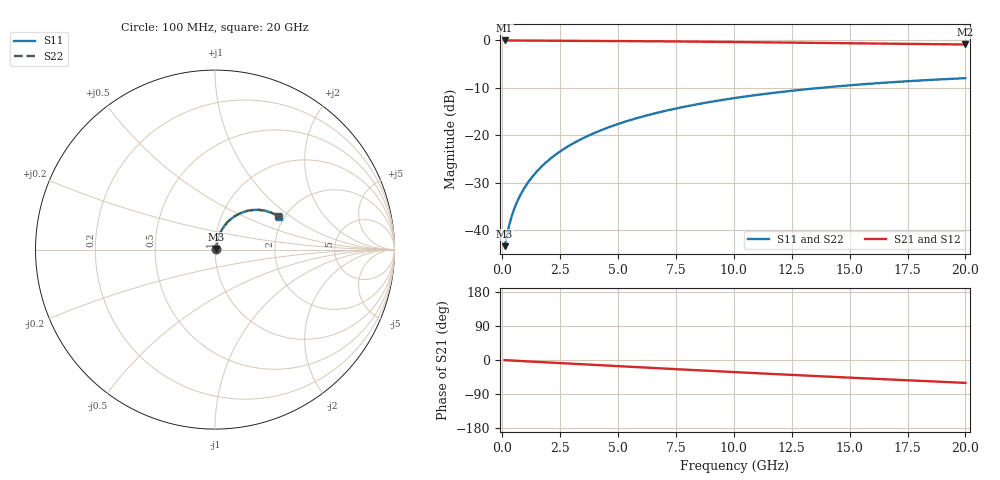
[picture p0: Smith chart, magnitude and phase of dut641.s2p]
! Touchstone file exported from HFSS 2026.1.0
!  File:  C:/ffzhzh/LocalFiles/Ansys_Project_Files/temp_train_BSMRDL_641_1783016756_55676.aedt
!  Generated:  02:27:32 AM Jul  3, 2026
!  Design:  BSMRDL
!  Project:  temp_train_BSMRDL_641_1783016756_55676
! Variables:
!  h_bsmrdl = 2.41um
!  h_ox = 20um
!  h_rdl = 5um
!  h_sub = 80um
!  h_tmrdl = 5um
!  h_tsv = 80um
!  h_via = 3um
!  l_bsmrdl = 985.95um
!  l_sub = 1385.95um
!  l_tmrdl = 200um
!  m_sub = 200um
!  pitch = 42.78um
!  r_tsv = 6um
!  s_tmrdl = 10um
!  w_bsmrdl = 25.05um
!  w_sub = 500um
!  w_tmrdl = 12um
!  x_tsv_center1 = 206um
!  x_tsv_center2 = 1217um
!  x_tsv_center3 = 1429um
!  x_tsv_center4 = 2440um
!  x_tsv_center5 = 2652um
!  x_tsv_center6 = 3663um
# GHz S MA R 50.000000
! Terminal data exported
! Port[1] = BSM_RDL1_1_T1
! Port[2] = BSM_RDL1_1_T2
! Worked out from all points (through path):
!   200 points, 100 MHz to 20 GHz, reference 50 ohm
!   highest |S21| = -0.05 dB at 100 MHz (marker M1); lowest = -0.9 dB at 20 GHz (marker M2)
!   group delay of S21, straight-line fit = 8.4 ps
!   lowest |S11| = -43.3 dB at 100 MHz (marker M3), VSWR 1.01, Z = 50.6 + j0.32 ohm
!   |S11| at or under -10 dB: start of sweep to 13.79 GHz
!   |S22| runs from -43.3 to -8.0 dB; largest |S21 - S12| = 7.4e-15
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0.1  0.00682 27.6  0.994 -0.4  0.994 -0.4  0.00682 27.6
! Gamma 0 0 0 0
! Port Impedance 50 0 50 0
0.3  0.01137 53.3  0.9933 -1.1  0.9933 -1.1  0.01137 53.3
0.4  0.01392 58.6  0.993 -1.4  0.993 -1.4  0.01392 58.6
0.5  0.01646 62.1  0.9926 -1.7  0.9926 -1.7  0.01646 62.1
0.6  0.01898 64.7  0.9923 -2.0  0.9923 -2.0  0.01898 64.7
0.8  0.024 68.2  0.9919 -2.7  0.9919 -2.7  0.024 68.2
1  0.02904 70.4  0.9915 -3.3  0.9915 -3.3  0.02904 70.4
1.2  0.03413 72.0  0.9912 -4.0  0.9912 -4.0  0.03413 72.0
1.4  0.03925 73.0  0.9909 -4.6  0.9909 -4.6  0.03924 73.0
1.7  0.04697 73.9  0.9904 -5.6  0.9904 -5.6  0.04697 73.9
2.2  0.05993 74.4  0.9895 -7.2  0.9895 -7.2  0.05993 74.4
2.8  0.07549 74.0  0.9882 -9.2  0.9882 -9.2  0.07548 74.0
3.5  0.09354 72.9  0.9865 -11.5  0.9865 -11.5  0.09353 72.9
4.2  0.1114 71.4  0.9843 -13.7  0.9843 -13.7  0.1114 71.4
5  0.1315 69.4  0.9815 -16.3  0.9815 -16.3  0.1315 69.5
5.9  0.1536 67.0  0.978 -19.1  0.978 -19.1  0.1536 67.1
6.8  0.1751 64.5  0.9739 -22.0  0.9739 -22.0  0.1751 64.6
8.3  0.2094 60.2  0.9665 -26.7  0.9665 -26.7  0.2094 60.3
10.1  0.2478 55.0  0.9566 -32.2  0.9566 -32.2  0.2478 55.1
13.4  0.3096 45.5  0.9372 -42.0  0.9372 -42.0  0.3096 45.6
16.7  0.36 36.4  0.9182 -51.4  0.9182 -51.4  0.3599 36.5
20  0.399 27.5  0.9016 -60.4  0.9016 -60.4  0.3989 27.7
